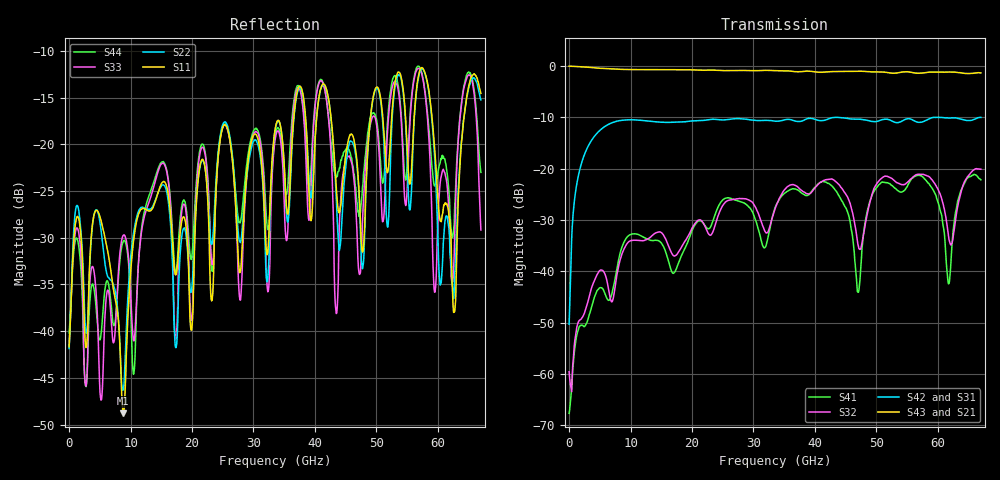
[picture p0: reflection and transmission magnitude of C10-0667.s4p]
! MARKI MICROWAVE INC.
! Email:  info@markimicrowave.com  Phone:  408-778-4200
! Model Number:  C10-0667  Date:  12/13
! Filename:		C10_0667.S4P  Version: 1.0
! Description:  4-port S-parameter data for Directional Coupler C10-0667
! Frequency Range: 	10 MHz to 67 GHz
! Port Configuration:	PORT 1: Input
!  PORT 2: Output
!  Port 3: Coupled
!  Port 4: Isolated
! S4P File: Measurements: Mag<S11> Ang<S11> Mag<S12> Ang<S12> Mag<S13> Ang<S13> Mag<S14> Ang<S14>! row 1
!  Mag<S21> Ang<S21> Mag<S22> Ang<S22> Mag<S23> Ang<S23> Mag<S24> Ang<S24>! row 2
!  Mag<S31> Ang<S31> Mag<S32> Ang<S32> Mag<S33> Ang<S33> Mag<S34> Ang<S34>! row 3
!  Mag<S41> Ang<S41> Mag<S42> Ang<S42> Mag<S43> Ang<S43> Mag<S44> Ang<S44>! row 4
# Hz S  dB  R 50
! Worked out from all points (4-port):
!   801 points, 10 MHz to 67 GHz, reference 50 ohm
!   strongest paths, dB at 10 MHz, 16.76 GHz, 33.51 GHz, 50.25 GHz, 67 GHz:
!     S43: 0.0, -0.7, -0.9, -1.2, -1.3
!     S21: 0.0, -0.7, -0.9, -1.2, -1.5
!     S42: -50.3, -11.0, -10.8, -10.7, -10.0
!     S31: -54.1, -11.0, -10.8, -10.7, -9.9
!     S32: -59.6, -36.6, -27.9, -22.6, -20.1
!     S41: -67.7, -40.2, -27.6, -23.3, -22.2
!   lowest |S11| = -48.8 dB at 8.802 GHz (marker M1), VSWR 1.01, Z = 49.7 + j0.231 ohm
!   |S11| at or under -10 dB: start of sweep to end of sweep
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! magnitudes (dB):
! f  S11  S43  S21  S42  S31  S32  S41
! 10 MHz  -41.7  0.0  0.0  -50.3  -54.1  -59.6  -67.7
! 1.852 GHz  -29.2  -0.1  -0.1  -19.7  -19.7  -49.4  -50.5
! 8.802 GHz  -48.8  -0.7  -0.6  -10.6  -10.6  -36.0  -34.7
! 25.3 GHz  -17.9  -0.9  -0.9  -10.5  -10.5  -26.7  -25.8
! 57.2 GHz  -11.9  -1.4  -1.5  -11.0  -11.0  -21.1  -21.4
! 61.81 GHz  -27.7  -1.2  -1.2  -10.1  -10.1  -33.8  -42.4
! 67 GHz  -14.5  -1.3  -1.5  -10.0  -9.9  -20.1  -22.2
